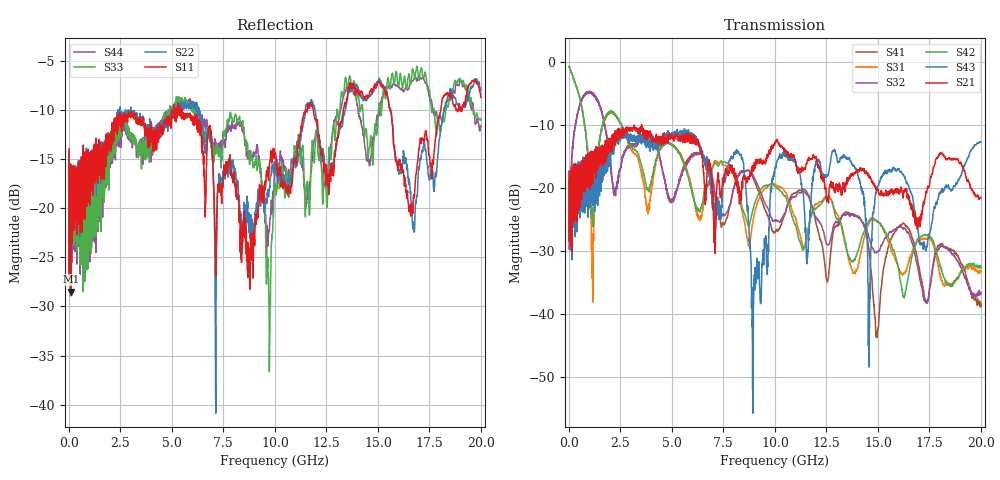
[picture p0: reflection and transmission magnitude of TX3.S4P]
# Hz S  RI  R 50
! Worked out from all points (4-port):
!   1601 points, 10 MHz to 20 GHz, reference 50 ohm
!   strongest paths, dB at 10 MHz, 5.008 GHz, 10.01 GHz, 15 GHz, 20 GHz:
!     S21: -17.4, -11.6, -12.9, -20.4, -21.5
!     S43: -17.4, -11.2, -16.8, -19.7, -12.7
!     S42: -0.7, -13.2, -19.7, -25.4, -32.5
!     S32: -29.7, -22.0, -25.1, -30.1, -36.7
!     S31: -0.7, -13.2, -19.4, -25.5, -33.4
!     S41: -29.5, -21.8, -27.0, -42.4, -38.8
!   lowest |S11| = -28.5 dB at 84.96 MHz (marker M1), VSWR 1.08, Z = 53.9 - j0.667 ohm
!   |S11| at or under -10 dB: start of sweep to 5.018 GHz; 5.483 GHz to 11.51 GHz (6.03 GHz wide, 71 % of centre); 15.61 GHz to 18.05 GHz (2.443 GHz wide, 14.5 % of centre)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
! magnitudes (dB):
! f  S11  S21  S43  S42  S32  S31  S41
! 10 MHz  -14.0  -17.4  -17.4  -0.7  -29.7  -0.7  -29.5
! 84.96 MHz  -28.5  -29.2  -29.9  -1.3  -19.0  -1.3  -19.0
! 1.134 GHz  -16.5  -16.8  -18.6  -25.1  -4.9  -33.3  -4.9
! 8.243 GHz  -19.5  -19.7  -14.5  -20.5  -18.1  -21.0  -17.8
! 8.956 GHz  -25.0  -16.3  -39.0  -23.2  -18.1  -24.9  -18.6
! 10.32 GHz  -17.3  -13.3  -15.1  -20.6  -25.0  -19.9  -25.7
! 20 GHz  -8.7  -21.5  -12.7  -32.5  -36.7  -33.4  -38.8
